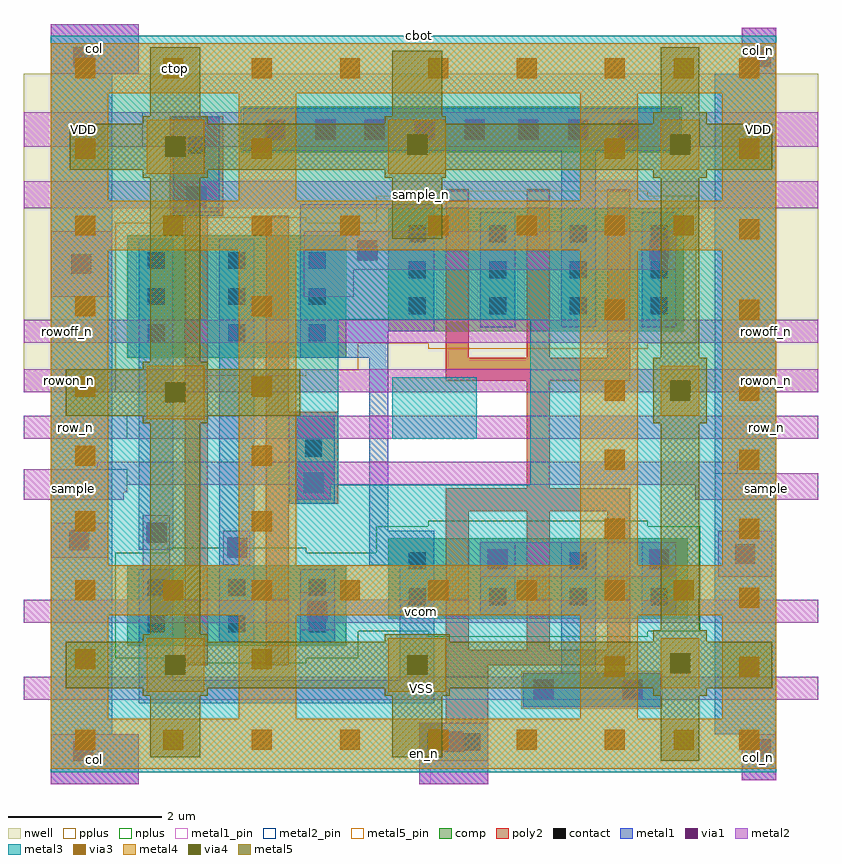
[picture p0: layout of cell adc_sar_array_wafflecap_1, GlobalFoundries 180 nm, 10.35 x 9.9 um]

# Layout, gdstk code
import gdstk
lib = gdstk.Library(unit=1e-6, precision=1e-09)
def R(c, l, rs):  # rectangles x0, y0, x1, y1
    for r in rs: c.add(gdstk.rectangle(r[:2], r[2:], *l))
def A(c, l, x, y, w, h, nx, ny, dx, dy):  # array of equal rectangles
    R(c, l, [(x+i*dx, y+j*dy, x+i*dx+w, y+j*dy+h) for i in range(nx) for j in range(ny)])
nwell = (21, 0)
comp = (22, 0)
poly2 = (30, 0)
pplus = (31, 0)
nplus = (32, 0)
contact = (33, 0)
metal1 = (34, 0)
metal1_pin = (34, 10)
via1 = (35, 0)
metal2 = (36, 0)
metal2_pin = (36, 10)
via3 = (40, 0)
via4 = (41, 0)
metal3 = (42, 0)
metal4 = (46, 0)
metal5 = (81, 0)
metal5_pin = (81, 10)

adc_sar_array_wafflecap_ = lib.new_cell('adc_sar_array_wafflecap_4')
R(adc_sar_array_wafflecap_, nwell, [(-11.85,4.3,-1.5,8.45)])
R(adc_sar_array_wafflecap_, comp, [(-5.35,0.2,-3.55,0.65), (-10.5,1,-7.65,2.05), (-7.1,1.35,-3.2,2.4), (-10.5,4.75,-7.65,6.35), (-7.1,5.1,-3.25,6.7), (-9,7.45,-3.3,8)])
A(adc_sar_array_wafflecap_, poly2, -6.35, 0.95, 0.3, 1.8, 3, 1, 1.05, 0)
A(adc_sar_array_wafflecap_, poly2, -6.35, 4.75, 0.3, 2.2, 3, 1, 1.05, 0)
R(adc_sar_array_wafflecap_, poly2, [(-6.7,-0.5,-5.8,0), (-6.35,0,-5.8,0.75), (-9.75,0.75,-9.45,6.6), (-8.7,0.75,-8.4,2.85), (-6.35,0.75,-3.95,0.95), (-6.35,2.75,-3.95,3.05), (-8.7,2.85,-7.75,4.05), (-5.3,3.05,-5,4.45), (-8.7,4.05,-8.4,6.6), (-6.35,4.45,-3.95,4.75), (-9.95,6.6,-9.25,7.9)])
R(adc_sar_array_wafflecap_, pplus, [(-5.37,0.18,-3.53,0.67), (-9.98,4.52,-8.17,4.59), (-10.66,4.59,-7.49,4.94), (-6.58,4.87,-3.72,4.94), (-10.66,4.94,-3.09,6.51), (-9.98,6.51,-8.17,6.58), (-7.26,6.51,-3.09,6.86), (-6.58,6.86,-3.72,6.93)])
R(adc_sar_array_wafflecap_, nplus, [(-9.98,0.77,-8.17,0.84), (-10.66,0.84,-7.49,1.19), (-6.58,1.12,-3.72,1.19), (-10.66,1.19,-3.04,2.21), (-9.98,2.21,-8.17,2.28), (-7.26,2.21,-3.04,2.56), (-6.58,2.56,-3.72,2.63), (-9.02,7.43,-3.28,8.02)])
A(adc_sar_array_wafflecap_, contact, -10.235, 1.18, 0.22, 0.22, 3, 2, 1.05, 0.47)
A(adc_sar_array_wafflecap_, contact, -6.835, 1.53, 0.22, 0.22, 4, 2, 1.05, 0.47)
A(adc_sar_array_wafflecap_, contact, -10.235, 4.97, 0.22, 0.22, 3, 3, 1.05, 0.47)
A(adc_sar_array_wafflecap_, contact, -6.835, 5.32, 0.22, 0.22, 4, 3, 1.05, 0.47)
A(adc_sar_array_wafflecap_, contact, -8.685, 7.615, 0.22, 0.22, 5, 1, 0.65, 0)
A(adc_sar_array_wafflecap_, contact, -5.385, 7.615, 0.22, 0.22, 3, 1, 0.65, 0)
R(adc_sar_array_wafflecap_, contact, [(-6.595,-0.36,-6.375,-0.14), (-6.125,-0.36,-5.905,-0.14), (-5.185,0.315,-4.965,0.535), (-4.035,0.315,-3.815,0.535), (-8.185,3.465,-7.965,3.685), (-9.71,7.415,-9.49,7.635)])
R(adc_sar_array_wafflecap_, metal1, [(-11.5,-0.8,-10.35,-0.15), (-6.7,-0.8,-5.8,0), (-2.5,-0.75,-2.05,-0.15), (-11.5,-0.15,-10.7,8.45), (-2.85,-0.15,-2.05,8.45), (-5.35,0.2,-3.55,0.65), (-10.35,0.25,-6.5,0.55), (-10.35,0.55,-9.9,2), (-6.95,0.55,-6.5,2.05), (-4.85,0.65,-4.4,2.35), (-9.3,1.05,-8.85,6.3), (-8.25,1.05,-7.8,2), (-5.9,1.4,-5.45,2.35), (-3.8,1.4,-3.35,2.35), (-7.35,2.05,-6.5,2.5), (-10.35,2.25,-9.9,6.3), (-7.35,2.5,-7.1,4.75), (-8.4,2.85,-7.8,4), (-8.25,4.75,-7.1,5.1), (-8.25,5.1,-6.5,6.75), (-5.9,5.15,-5.45,6.65), (-4.85,5.15,-4.4,7.45), (-3.8,5.15,-3.35,6.65), (-9.9,6.6,-9.3,7.9), (-9,7.45,-3.3,8), (-11.5,8.45,-10.35,9.1), (-2.5,8.45,-2.05,9.05)])
R(adc_sar_array_wafflecap_, metal1_pin, [(-6.7,-0.8,-6.55,0), (-2.5,-0.75,-2.05,-0.15), (-2.5,8.45,-2.05,9.05)])
A(adc_sar_array_wafflecap_, via1, -8.705, 7.595, 0.26, 0.26, 5, 1, 0.65, 0)
A(adc_sar_array_wafflecap_, via1, -5.405, 7.595, 0.26, 0.26, 3, 1, 0.65, 0)
R(adc_sar_array_wafflecap_, via1, [(-11.205,-0.505,-10.945,-0.245), (-2.38,-0.48,-2.12,-0.22), (-6.38,-0.38,-6.12,-0.12), (-5.205,0.3,-4.945,0.56), (-4.055,0.3,-3.795,0.56), (-8.155,1.32,-7.895,1.58), (-5.805,1.995,-5.545,2.255), (-3.705,1.995,-3.445,2.255), (-2.58,2.07,-2.32,2.33), (-9.2,2.145,-8.94,2.405), (-11.255,2.245,-10.995,2.505), (-10.25,2.345,-9.99,2.605), (-8.205,2.995,-7.945,3.255), (-11.23,5.845,-10.97,6.105), (-7.505,6.02,-7.245,6.28), (-3.705,6.02,-3.445,6.28), (-9.73,6.72,-9.47,6.98), (-11.205,8.545,-10.945,8.805), (-2.38,8.545,-2.12,8.805)])
R(adc_sar_array_wafflecap_, metal2, [(-11.5,-0.8,-10.35,-0.15), (-6.7,-0.8,-5.8,0), (-2.5,-0.75,-2.05,-0.15), (-5.35,0.2,-3.55,0.3), (-11.85,0.3,-1.5,0.6), (-5.35,0.6,-3.55,0.65), (-8.25,1.2,-7.8,1.3), (-11.85,1.3,-1.5,1.6), (-10.3,1.6,-9.95,2.7), (-8.25,1.6,-7.8,1.7), (-5.9,1.9,-3.35,2.35), (-2.8,1.9,-2.1,2.5), (-9.25,2.05,-8.9,2.5), (-11.5,2.15,-10.75,2.6), (-8.3,2.9,-7.85,3.1), (-2.85,2.95,-1.5,3.1), (-11.85,3,-10.5,3.1), (-11.85,3.1,-1.5,3.25), (-11.85,3.25,-2.55,3.3), (-10.9,3.3,-2.55,3.4), (-11.85,3.7,-1.5,4), (-11.85,4.3,-1.5,4.6), (-11.85,4.95,-1.5,5.25), (-11.5,5.55,-10.7,6.4), (-8.2,5.55,-7.55,5.9), (-8.2,5.9,-3.35,6.4), (-9.9,6.65,-9.3,6.7), (-11.85,6.7,-1.5,7.05), (-11.85,7.5,-1.5,7.95), (-11.5,8.45,-10.35,9.1), (-2.5,8.45,-2.05,9.05)])
R(adc_sar_array_wafflecap_, metal2_pin, [(-11.5,-0.8,-10.35,-0.15), (-11.85,0.3,-1.5,0.6), (-11.85,1.3,-1.5,1.6), (-2.85,2.95,-1.5,3.25), (-11.85,3,-10.5,3.3), (-11.85,3.7,-10.5,4), (-2.85,3.7,-1.5,4), (-11.85,4.3,-10.65,4.6), (-2.85,4.3,-1.5,4.6), (-11.85,4.95,-10.7,5.25), (-2.85,4.95,-1.5,5.25), (-11.85,6.7,-1.5,7.05), (-11.85,7.5,-10.3,7.95), (-3.05,7.5,-1.5,7.95), (-11.5,8.45,-10.35,9.1)])
A(adc_sar_array_wafflecap_, via3, -11.18, -0.355, 0.26, 0.26, 7, 2, 1.15, 1.95)
A(adc_sar_array_wafflecap_, via3, -2.53, 0.595, 0.26, 0.26, 1, 5, 0, 0.9)
A(adc_sar_array_wafflecap_, via3, -4.28, 2.395, 0.26, 0.26, 1, 3, 0, 0.9)
A(adc_sar_array_wafflecap_, via3, -2.53, 5.245, 0.26, 0.26, 1, 4, 0, 1.05)
A(adc_sar_array_wafflecap_, via3, -11.18, 6.345, 0.26, 0.26, 7, 2, 1.15, 2.05)
R(adc_sar_array_wafflecap_, via3, [(-3.38,-0.355,-3.12,-0.095), (-2.53,-0.355,-2.27,-0.095), (-4.28,0.595,-4.02,0.855), (-11.18,0.695,-10.92,0.955), (-8.88,0.695,-8.62,0.955), (-3.38,1.595,-3.12,1.855), (-11.18,2.495,-10.92,2.755), (-8.88,2.495,-8.62,2.755), (-11.18,3.345,-10.92,3.605), (-8.88,3.345,-8.62,3.605), (-11.18,4.245,-10.92,4.505), (-8.88,4.245,-8.62,4.505), (-4.28,5.245,-4.02,5.505), (-11.18,5.295,-10.92,5.555), (-8.88,5.295,-8.62,5.555), (-3.38,6.345,-3.12,6.605), (-11.18,7.345,-10.92,7.605), (-8.88,7.345,-8.62,7.605), (-4.28,7.345,-4.02,7.605), (-3.38,8.395,-3.12,8.655)])
R(adc_sar_array_wafflecap_, via4, [(-10.005,0.62,-9.745,0.88), (-6.855,0.62,-6.595,0.88), (-3.43,0.645,-3.17,0.905), (-10.005,4.17,-9.745,4.43), (-3.43,4.195,-3.17,4.455), (-10.005,7.37,-9.745,7.63), (-6.855,7.395,-6.595,7.655), (-3.43,7.395,-3.17,7.655)])
R(adc_sar_array_wafflecap_, metal3, [(-11.5,-0.65,-2.05,3.1), (-11.5,3.1,-7.75,5.25), (-5.25,3.1,-2.05,5.25), (-7.05,3.7,-5.95,4.5), (-11.5,5.25,-2.05,8.95)])
R(adc_sar_array_wafflecap_, metal4, [(-11.5,-0.6,-2.05,0.05), (-11.5,0.05,-10.75,1.4), (-9.05,0.05,-8.3,1.4), (-4.6,0.05,-3.85,1.4), (-2.75,0.05,-2.05,1.4), (-10.25,0.4,-9.5,1.1), (-7.1,0.4,-6.35,1.1), (-3.55,0.45,-3.05,1.1), (-11.5,1.4,-2.05,2.05), (-11.5,2.05,-10.75,6.15), (-9.05,2.05,-8.3,6.15), (-4.6,2.05,-3.85,6.15), (-2.75,2.05,-2.05,6.15), (-10.25,3.95,-9.5,4.65), (-3.55,4,-3.05,4.65), (-11.5,6.15,-2.05,6.8), (-11.5,6.8,-10.75,8.2), (-9.05,6.8,-8.3,8.2), (-4.6,6.8,-3.85,8.2), (-2.75,6.8,-2.05,8.2), (-10.25,7.15,-9.5,7.85), (-7.1,7.15,-6.35,7.85), (-3.55,7.2,-3.05,7.85), (-11.5,8.2,-2.05,8.85)])
R(adc_sar_array_wafflecap_, metal5, [(-3.55,-0.5,-3.05,0.35), (-10.2,-0.45,-9.55,0.35), (-7.05,-0.45,-6.4,0.35), (-10.3,0.35,-9.45,0.45), (-7.15,0.35,-6.3,0.45), (-3.65,0.35,-2.95,0.45), (-11.3,0.45,-2.1,1.05), (-10.3,1.05,-9.45,1.15), (-7.15,1.05,-6.3,1.15), (-3.65,1.05,-2.95,1.2), (-10.2,1.15,-9.55,3.9), (-3.55,1.2,-3.05,3.9), (-10.3,3.9,-9.45,4), (-3.65,3.9,-2.95,4.75), (-11.3,4,-8.25,4.6), (-10.3,4.6,-9.45,4.7), (-10.2,4.7,-9.55,7.1), (-3.55,4.75,-3.05,7.1), (-7.05,6.3,-6.4,7.1), (-10.3,7.1,-9.45,7.2), (-7.15,7.1,-6.35,7.2), (-3.65,7.1,-2.95,7.2), (-11.25,7.2,-2.1,7.8), (-10.3,7.8,-9.45,7.9), (-7.15,7.8,-6.35,7.9), (-3.65,7.8,-2.95,7.95), (-10.2,7.9,-9.55,8.8), (-7.05,7.9,-6.4,8.75), (-3.55,7.95,-3.05,8.8)])
R(adc_sar_array_wafflecap_, metal5_pin, [(-7.05,8.2,-6.4,8.75)])
adc_sar_array_wafflecap_.add(gdstk.Label('VDD', (-11.075,7.725), layer=36, texttype=10))
adc_sar_array_wafflecap_.add(gdstk.Label('VDD', (-2.275,7.725), layer=36, texttype=10))
adc_sar_array_wafflecap_.add(gdstk.Label('VSS', (-6.675,0.45), layer=36, texttype=10))
adc_sar_array_wafflecap_.add(gdstk.Label('sample_n', (-6.675,6.875), layer=36, texttype=10))
adc_sar_array_wafflecap_.add(gdstk.Label('rowoff_n', (-11.275,5.1), layer=36, texttype=10))
adc_sar_array_wafflecap_.add(gdstk.Label('rowoff_n', (-2.175,5.1), layer=36, texttype=10))
adc_sar_array_wafflecap_.add(gdstk.Label('rowon_n', (-11.25,4.45), layer=36, texttype=10))
adc_sar_array_wafflecap_.add(gdstk.Label('rowon_n', (-2.175,4.45), layer=36, texttype=10))
adc_sar_array_wafflecap_.add(gdstk.Label('row_n', (-11.175,3.85), layer=36, texttype=10))
adc_sar_array_wafflecap_.add(gdstk.Label('row_n', (-2.175,3.85), layer=36, texttype=10))
adc_sar_array_wafflecap_.add(gdstk.Label('vcom', (-6.675,1.45), layer=36, texttype=10))
adc_sar_array_wafflecap_.add(gdstk.Label('en_n', (-6.625,-0.4), layer=34, texttype=10))
adc_sar_array_wafflecap_.add(gdstk.Label('col_n', (-2.275,-0.45), layer=34, texttype=10))
adc_sar_array_wafflecap_.add(gdstk.Label('col_n', (-2.275,8.75), layer=34, texttype=10))
adc_sar_array_wafflecap_.add(gdstk.Label('col', (-10.925,8.775), layer=36, texttype=10))
adc_sar_array_wafflecap_.add(gdstk.Label('col', (-10.925,-0.475), layer=36, texttype=10))
adc_sar_array_wafflecap_.add(gdstk.Label('sample', (-2.175,3.1), layer=36, texttype=10))
adc_sar_array_wafflecap_.add(gdstk.Label('sample', (-11.175,3.15), layer=36, texttype=10))
adc_sar_array_wafflecap_.add(gdstk.Label('ctop', (-6.725,8.475), layer=81, texttype=10))
adc_sar_array_wafflecap_.add(gdstk.Label('cbot', (-6.7,8.95), layer=42, texttype=10))

c_adc_sar_array_wafflecap_ = lib.new_cell('adc_sar_array_wafflecap_1')
R(c_adc_sar_array_wafflecap_, nwell, [(12.5,5.1,22.85,9.25)])
R(c_adc_sar_array_wafflecap_, comp, [(19,1,20.8,1.45), (13.85,1.8,16.7,2.85), (17.25,2.15,21.15,3.2), (13.85,5.55,16.7,7.15), (17.25,5.9,21.1,7.5), (15.35,8.25,21.05,8.8)])
A(c_adc_sar_array_wafflecap_, poly2, 18, 1.75, 0.3, 1.8, 3, 1, 1.05, 0)
A(c_adc_sar_array_wafflecap_, poly2, 18, 5.55, 0.3, 2.2, 3, 1, 1.05, 0)
R(c_adc_sar_array_wafflecap_, poly2, [(17.65,0.3,18.55,0.8), (18,0.8,18.55,1.55), (14.6,1.55,14.9,7.4), (15.65,1.55,15.95,3.65), (18,1.55,20.4,1.75), (18,3.55,20.4,3.85), (15.65,3.65,16.6,4.85), (19.05,3.85,19.35,5.25), (15.65,4.85,15.95,7.4), (18,5.25,20.4,5.55), (14.4,7.4,15.1,8.7)])
R(c_adc_sar_array_wafflecap_, pplus, [(18.98,0.98,20.82,1.47), (14.37,5.32,16.18,5.39), (13.69,5.39,16.86,5.74), (17.77,5.67,20.63,5.74), (13.69,5.74,21.26,7.31), (14.37,7.31,16.18,7.38), (17.09,7.31,21.26,7.66), (17.77,7.66,20.63,7.73)])
R(c_adc_sar_array_wafflecap_, nplus, [(14.37,1.57,16.18,1.64), (13.69,1.64,16.86,1.99), (17.77,1.92,20.63,1.99), (13.69,1.99,21.31,3.01), (14.37,3.01,16.18,3.08), (17.09,3.01,21.31,3.36), (17.77,3.36,20.63,3.43), (15.33,8.23,21.07,8.82)])
A(c_adc_sar_array_wafflecap_, contact, 14.115, 1.98, 0.22, 0.22, 3, 2, 1.05, 0.47)
A(c_adc_sar_array_wafflecap_, contact, 17.515, 2.33, 0.22, 0.22, 4, 2, 1.05, 0.47)
A(c_adc_sar_array_wafflecap_, contact, 14.115, 5.77, 0.22, 0.22, 3, 3, 1.05, 0.47)
A(c_adc_sar_array_wafflecap_, contact, 17.515, 6.12, 0.22, 0.22, 4, 3, 1.05, 0.47)
A(c_adc_sar_array_wafflecap_, contact, 15.665, 8.415, 0.22, 0.22, 5, 1, 0.65, 0)
A(c_adc_sar_array_wafflecap_, contact, 18.965, 8.415, 0.22, 0.22, 3, 1, 0.65, 0)
R(c_adc_sar_array_wafflecap_, contact, [(17.755,0.44,17.975,0.66), (18.225,0.44,18.445,0.66), (19.165,1.115,19.385,1.335), (20.315,1.115,20.535,1.335), (16.165,4.265,16.385,4.485), (14.64,8.215,14.86,8.435)])
R(c_adc_sar_array_wafflecap_, metal1, [(12.85,0,14,0.65), (17.65,0,18.55,0.8), (21.85,0.05,22.3,0.65), (12.85,0.65,13.65,9.25), (21.5,0.65,22.3,9.25), (19,1,20.8,1.45), (14,1.05,17.85,1.35), (14,1.35,14.45,2.8), (17.4,1.35,17.85,2.85), (19.5,1.45,19.95,3.15), (15.05,1.85,15.5,7.1), (16.1,1.85,16.55,2.8), (18.45,2.2,18.9,3.15), (20.55,2.2,21,3.15), (17,2.85,17.85,3.3), (14,3.05,14.45,7.1), (17,3.3,17.25,5.55), (15.95,3.65,16.55,4.8), (16.1,5.55,17.25,5.9), (16.1,5.9,17.85,7.55), (18.45,5.95,18.9,7.45), (19.5,5.95,19.95,8.25), (20.55,5.95,21,7.45), (14.45,7.4,15.05,8.7), (15.35,8.25,21.05,8.8), (12.85,9.25,14,9.9), (21.85,9.25,22.3,9.85)])
R(c_adc_sar_array_wafflecap_, metal1_pin, [(17.65,0,17.8,0.8), (21.85,0.05,22.3,0.65), (21.85,9.25,22.3,9.85)])
A(c_adc_sar_array_wafflecap_, via1, 15.645, 8.395, 0.26, 0.26, 5, 1, 0.65, 0)
A(c_adc_sar_array_wafflecap_, via1, 18.945, 8.395, 0.26, 0.26, 3, 1, 0.65, 0)
R(c_adc_sar_array_wafflecap_, via1, [(13.145,0.295,13.405,0.555), (21.97,0.32,22.23,0.58), (17.97,0.42,18.23,0.68), (19.145,1.1,19.405,1.36), (20.295,1.1,20.555,1.36), (16.195,2.12,16.455,2.38), (18.545,2.795,18.805,3.055), (20.645,2.795,20.905,3.055), (21.77,2.87,22.03,3.13), (15.15,2.945,15.41,3.205), (13.095,3.045,13.355,3.305), (14.1,3.145,14.36,3.405), (16.145,3.795,16.405,4.055), (13.12,6.645,13.38,6.905), (16.845,6.82,17.105,7.08), (20.645,6.82,20.905,7.08), (14.62,7.52,14.88,7.78), (13.145,9.345,13.405,9.605), (21.97,9.345,22.23,9.605)])
R(c_adc_sar_array_wafflecap_, metal2, [(12.85,0,14,0.65), (17.65,0,18.55,0.8), (21.85,0.05,22.3,0.65), (19,1,20.8,1.1), (12.5,1.1,22.85,1.4), (19,1.4,20.8,1.45), (16.1,2,16.55,2.1), (12.5,2.1,22.85,2.4), (14.05,2.4,14.4,3.5), (16.1,2.4,16.55,2.5), (18.45,2.7,21,3.15), (21.55,2.7,22.25,3.3), (15.1,2.85,15.45,3.3), (12.85,2.95,13.6,3.4), (12.5,3.7,13.8,3.9), (16.05,3.7,16.5,3.9), (21.25,3.7,22.85,3.9), (12.5,3.9,22.85,4), (13.65,4,21.5,4.2), (12.5,4.5,22.85,4.8), (12.5,5.1,22.85,5.4), (12.5,5.75,22.85,6.05), (12.85,6.35,13.65,7.2), (16.15,6.35,16.8,6.7), (16.15,6.7,21,7.2), (14.45,7.45,15.05,7.5), (12.5,7.5,22.85,7.85), (12.5,8.3,22.85,8.75), (12.85,9.25,14,9.9), (21.85,9.25,22.3,9.85)])
R(c_adc_sar_array_wafflecap_, metal2_pin, [(12.85,0,14,0.65), (12.5,1.1,22.85,1.4), (12.5,2.1,22.85,2.4), (12.5,3.7,13.8,4), (21.5,3.7,22.85,4), (12.5,4.5,13.85,4.8), (21.5,4.5,22.85,4.8), (12.5,5.1,13.7,5.4), (21.5,5.1,22.85,5.4), (12.5,5.75,13.65,6.05), (21.5,5.75,22.85,6.05), (12.5,7.5,22.85,7.85), (12.5,8.3,14.05,8.75), (21.3,8.3,22.85,8.75), (12.85,9.25,14,9.9)])
A(c_adc_sar_array_wafflecap_, via3, 13.17, 0.445, 0.26, 0.26, 7, 2, 1.15, 1.95)
A(c_adc_sar_array_wafflecap_, via3, 21.82, 1.395, 0.26, 0.26, 1, 5, 0, 0.9)
A(c_adc_sar_array_wafflecap_, via3, 20.07, 3.195, 0.26, 0.26, 1, 3, 0, 0.9)
A(c_adc_sar_array_wafflecap_, via3, 21.82, 6.045, 0.26, 0.26, 1, 4, 0, 1.05)
A(c_adc_sar_array_wafflecap_, via3, 13.17, 7.145, 0.26, 0.26, 7, 2, 1.15, 2.05)
R(c_adc_sar_array_wafflecap_, via3, [(20.97,0.445,21.23,0.705), (21.82,0.445,22.08,0.705), (20.07,1.395,20.33,1.655), (13.17,1.495,13.43,1.755), (15.47,1.495,15.73,1.755), (20.97,2.395,21.23,2.655), (13.17,3.295,13.43,3.555), (15.47,3.295,15.73,3.555), (13.17,4.145,13.43,4.405), (15.47,4.145,15.73,4.405), (13.17,5.045,13.43,5.305), (15.47,5.045,15.73,5.305), (20.07,6.045,20.33,6.305), (13.17,6.095,13.43,6.355), (15.47,6.095,15.73,6.355), (20.97,7.145,21.23,7.405), (13.17,8.145,13.43,8.405), (15.47,8.145,15.73,8.405), (20.07,8.145,20.33,8.405), (20.97,9.195,21.23,9.455)])
R(c_adc_sar_array_wafflecap_, via4, [(14.345,1.42,14.605,1.68), (17.495,1.42,17.755,1.68), (20.92,1.445,21.18,1.705), (14.345,4.97,14.605,5.23), (20.92,4.995,21.18,5.255), (14.345,8.17,14.605,8.43), (17.495,8.195,17.755,8.455), (20.92,8.195,21.18,8.455)])
R(c_adc_sar_array_wafflecap_, metal3, [(12.85,0.15,22.3,3.9), (12.85,3.9,16.6,6.05), (19.1,3.9,22.3,6.05), (17.3,4.5,18.4,5.3), (12.85,6.05,22.3,9.75)])
R(c_adc_sar_array_wafflecap_, metal4, [(12.85,0.2,22.3,0.85), (12.85,0.85,13.6,2.2), (15.3,0.85,16.05,2.2), (19.75,0.85,20.5,2.2), (21.6,0.85,22.3,2.2), (14.1,1.2,14.85,1.9), (17.25,1.2,18,1.9), (20.8,1.25,21.3,1.9), (12.85,2.2,22.3,2.85), (12.85,2.85,13.6,6.95), (15.3,2.85,16.05,6.95), (19.75,2.85,20.5,6.95), (21.6,2.85,22.3,6.95), (14.1,4.75,14.85,5.45), (20.8,4.8,21.3,5.45), (12.85,6.95,22.3,7.6), (12.85,7.6,13.6,9), (15.3,7.6,16.05,9), (19.75,7.6,20.5,9), (21.6,7.6,22.3,9), (14.1,7.95,14.85,8.65), (17.25,7.95,18,8.65), (20.8,8,21.3,8.65), (12.85,9,22.3,9.65)])
R(c_adc_sar_array_wafflecap_, metal5, [(20.8,0.3,21.3,1.15), (14.15,0.35,14.8,1.15), (17.3,0.35,17.95,1.15), (14.05,1.15,14.9,1.25), (17.2,1.15,18.05,1.25), (20.7,1.15,21.4,1.25), (13.05,1.25,22.25,1.85), (14.05,1.85,14.9,1.95), (17.2,1.85,18.05,1.95), (20.7,1.85,21.4,2), (14.15,1.95,14.8,4.7), (20.8,2,21.3,4.7), (14.05,4.7,14.9,4.8), (20.7,4.7,21.4,5.55), (13.05,4.8,16.1,5.4), (14.05,5.4,14.9,5.5), (14.15,5.5,14.8,5.7), (20.8,5.55,21.3,7.9), (14.15,6.8,14.8,7.9), (17.3,7.1,17.95,7.9), (14.05,7.9,14.9,8), (17.2,7.9,18,8), (20.7,7.9,21.4,8), (13.1,8,16.1,8.6), (17.05,8,22.25,8.6), (14.05,8.6,14.9,8.7), (17.2,8.6,18,8.7), (20.7,8.6,21.4,8.75), (14.15,8.7,14.8,9.6), (17.3,8.7,17.95,9.55), (20.8,8.75,21.3,9.6)])
R(c_adc_sar_array_wafflecap_, metal5_pin, [(14.15,9.05,14.8,9.6)])
c_adc_sar_array_wafflecap_.add(gdstk.Reference(adc_sar_array_wafflecap_, (24.35,0.8)))
c_adc_sar_array_wafflecap_.add(gdstk.Label('VDD', (13.275,8.525), layer=36, texttype=10))
c_adc_sar_array_wafflecap_.add(gdstk.Label('VDD', (22.075,8.525), layer=36, texttype=10))
c_adc_sar_array_wafflecap_.add(gdstk.Label('VSS', (17.675,1.25), layer=36, texttype=10))
c_adc_sar_array_wafflecap_.add(gdstk.Label('sample_n', (17.675,7.675), layer=36, texttype=10))
c_adc_sar_array_wafflecap_.add(gdstk.Label('rowoff_n', (13.075,5.9), layer=36, texttype=10))
c_adc_sar_array_wafflecap_.add(gdstk.Label('rowoff_n', (22.175,5.9), layer=36, texttype=10))
c_adc_sar_array_wafflecap_.add(gdstk.Label('rowon_n', (13.1,5.25), layer=36, texttype=10))
c_adc_sar_array_wafflecap_.add(gdstk.Label('rowon_n', (22.175,5.25), layer=36, texttype=10))
c_adc_sar_array_wafflecap_.add(gdstk.Label('row_n', (13.175,4.65), layer=36, texttype=10))
c_adc_sar_array_wafflecap_.add(gdstk.Label('row_n', (22.175,4.65), layer=36, texttype=10))
c_adc_sar_array_wafflecap_.add(gdstk.Label('vcom', (17.675,2.25), layer=36, texttype=10))
c_adc_sar_array_wafflecap_.add(gdstk.Label('en_n', (17.725,0.4), layer=34, texttype=10))
c_adc_sar_array_wafflecap_.add(gdstk.Label('col_n', (22.075,0.35), layer=34, texttype=10))
c_adc_sar_array_wafflecap_.add(gdstk.Label('col_n', (22.075,9.55), layer=34, texttype=10))
c_adc_sar_array_wafflecap_.add(gdstk.Label('col', (13.425,9.575), layer=36, texttype=10))
c_adc_sar_array_wafflecap_.add(gdstk.Label('col', (13.425,0.325), layer=36, texttype=10))
c_adc_sar_array_wafflecap_.add(gdstk.Label('sample', (22.175,3.85), layer=36, texttype=10))
c_adc_sar_array_wafflecap_.add(gdstk.Label('sample', (13.15,3.85), layer=36, texttype=10))
c_adc_sar_array_wafflecap_.add(gdstk.Label('ctop', (14.475,9.325), layer=81, texttype=10))
c_adc_sar_array_wafflecap_.add(gdstk.Label('cbot', (17.65,9.75), layer=42, texttype=10))

lib.write_gds('adc_sar_array_wafflecap_1.gds')
